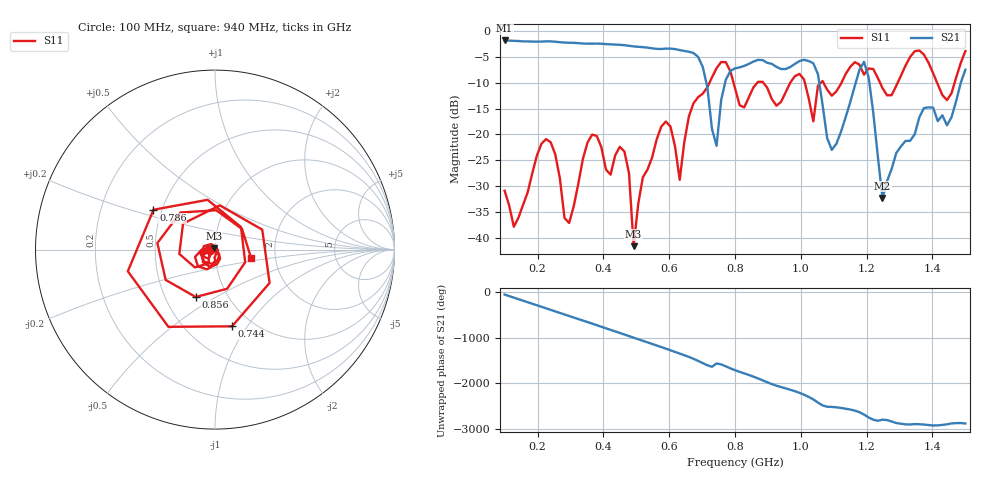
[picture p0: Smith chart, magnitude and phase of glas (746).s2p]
! NanoVNA-App
! Date: 2025-09-25 16:01:17
! Start: 100MHz Stop: 1,5GHz Points: 101
! S-Parameter data: F S11 S21 S12 S22
# Hz S RI R 50
!  Frequency  S11_Real  S11_Imag  S21_Real  S21_Imag  S12_Real  S12_Imag  S22_Real  S22_Imag
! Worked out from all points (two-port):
!   101 points, 100 MHz to 1.5 GHz, reference 50 ohm
!   highest |S21| = -1.80 dB at 100 MHz (marker M1); lowest = -32.4 dB at 1.248 GHz (marker M2)
!   |S21| within 3 dB of the highest: start of sweep to 684.5 MHz
!   lowest |S11| = -41.7 dB at 492 MHz (marker M3), VSWR 1.02, Z = 49.5 + j0.663 ohm
!   |S11| at or under -10 dB: start of sweep to 722.4 MHz; 795.5 MHz to 867.7 MHz (72.18 MHz wide, 8.68 % of centre); 886.2 MHz to 967.8 MHz (81.53 MHz wide, 8.8 % of centre) (the widest 3 of 7)
!   S12 and S22 are empty: the file has one direction only
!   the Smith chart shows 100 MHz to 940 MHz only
!   S11 on the Smith chart (normalised r, x): 100 MHz: 0.94, -0.01; 744 MHz: 0.81, -0.85; 786 MHz: 0.45, +0.24; 856 MHz: 0.71, -0.41; 940 MHz: 1.50, -0.15
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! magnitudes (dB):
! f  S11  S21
! 100 MHz  -30.9  -1.8
! 128 MHz  -37.9  -1.9
! 226 MHz  -20.9  -2.0
! 296 MHz  -37.2  -2.2
! 338 MHz  -24.7  -2.4
! 464 MHz  -23.3  -2.7
! 492 MHz  -41.7  -3.0
! 576 MHz  -18.5  -3.5
! 632 MHz  -28.8  -3.7
! 702 MHz  -12.1  -6.9
! 744 MHz  -7.2  -22.2
! 786 MHz  -7.8  -7.7
! 800 MHz  -11.0  -7.2
! 856 MHz  -10.9  -5.9
! 940 MHz  -13.7  -7.3
! 996 MHz  -8.3  -5.8
! 1.038 GHz  -17.5  -6.2
! 1.094 GHz  -12.5  -23.0
! 1.192 GHz  -8.4  -5.9
! 1.248 GHz  -11.0  -32.4
! 1.276 GHz  -12.4  -26.7
! 1.5 GHz  -3.9  -7.5
